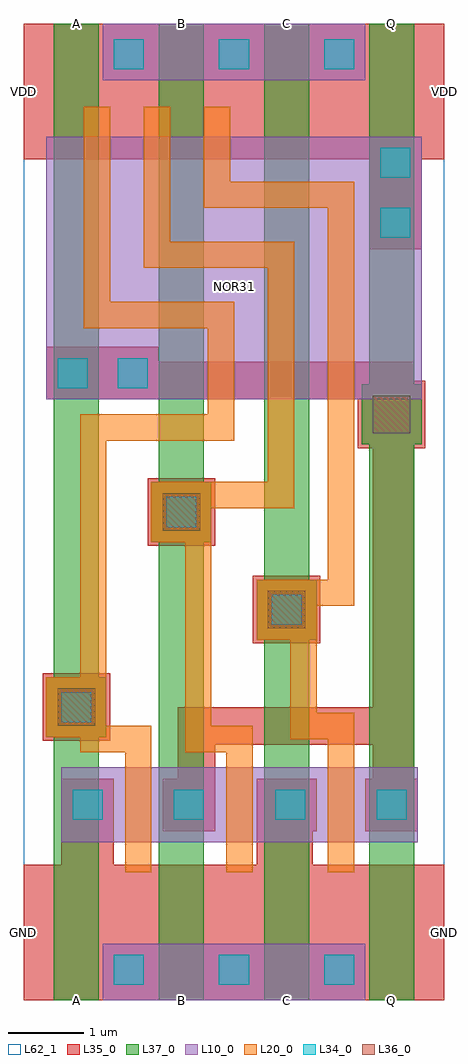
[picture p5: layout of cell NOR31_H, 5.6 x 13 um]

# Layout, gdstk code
import gdstk
lib = gdstk.Library(unit=1e-6, precision=1e-09)
def R(c, l, rs):  # rectangles x0, y0, x1, y1
    for r in rs: c.add(gdstk.rectangle(r[:2], r[2:], *l))
def A(c, l, x, y, w, h, nx, ny, dx, dy):  # array of equal rectangles
    R(c, l, [(x+i*dx, y+j*dy, x+i*dx+w, y+j*dy+h) for i in range(nx) for j in range(ny)])
def P(c, l, *ps):  # polygons
    for p in ps: c.add(gdstk.Polygon(p, *l))
L10_0 = (10, 0)
L20_0 = (20, 0)
L34_0 = (34, 0)
L35_0 = (35, 0)
L36_0 = (36, 0)
L37_0 = (37, 0)
L62_1 = (62, 1)

nor31_h = lib.new_cell('NOR31_H')
R(nor31_h, L10_0, [(1.05,0,4.55,0.75), (0.5,2.1,5.25,3.1), (0.3,8,5.3,11.5), (1.05,12.25,4.55,13)])
P(nor31_h, L20_0, [(3.6,10.1),(1.95,10.1),(1.95,11.9),(1.6,11.9),(1.6,9.75),(3.25,9.75),(3.25,6.9),(1.7,6.9),(1.7,6.1),(2.15,6.1),(2.15,3.3),(2.7,3.3),(2.7,1.7),(3.05,1.7),(3.05,3.65),(2.5,3.65),(2.5,6.55),(3.6,6.55)],
  [(4.4,3.825),(3.9,3.825),(3.9,5.25),(4.4,5.25),(4.4,10.9),(2.75,10.9),(2.75,11.9),(2.4,11.9),(2.4,10.55),(4.05,10.55),(4.05,5.6),(3.1,5.6),(3.1,4.8),(3.55,4.8),(3.55,3.475),(4.05,3.475),(4.05,1.7),(4.4,1.7)],
  [(2.8,9.3),(1.15,9.3),(1.15,11.9),(0.8,11.9),(0.8,8.95),(2.45,8.95),(2.45,7.8),(0.75,7.8),(0.75,4.3),(0.3,4.3),(0.3,3.5),(0.75,3.5),(0.75,3.3),(1.35,3.3),(1.35,1.7),(1.7,1.7),(1.7,3.65),(1.1,3.65),(1.1,7.45),(2.8,7.45)])
A(nor31_h, L34_0, 1.2, 0.2, 0.4, 0.4, 3, 2, 1.4, 12.2)
A(nor31_h, L34_0, 0.65, 2.4, 0.4, 0.4, 4, 1, 1.35, 0)
R(nor31_h, L34_0, [(0.5,3.7,0.9,4.1), (3.3,5,3.7,5.4), (1.9,6.3,2.3,6.7), (0.45,8.15,0.85,8.55), (1.25,8.15,1.65,8.55), (4.75,10.15,5.15,10.55), (4.75,10.95,5.15,11.35)])
R(nor31_h, L35_0, [(0.25,3.45,1.15,4.35), (0.25,3.45,1.15,4.35), (3.05,4.75,3.95,5.65), (3.05,4.75,3.95,5.65), (1.65,6.05,2.55,6.95), (1.65,6.05,2.55,6.95), (4.45,7.35,5.35,8.25)])
P(nor31_h, L35_0, [(5.6,1.8),(3.85,1.8),(3.85,2.25),(3.9,2.25),(3.9,2.95),(3.1,2.95),(3.1,1.8),(1.2,1.8),(1.2,2.95),(0.5,2.95),(0.5,1.8),(0,1.8),(0,0),(5.6,0)],
  [(5.35,8.25),(5.2,8.25),(5.2,8.5),(1.8,8.5),(1.8,8.7),(0.3,8.7),(0.3,8),(4.45,8),(4.45,7.35),(4.65,7.35),(4.65,3.9),(2.05,3.9),(2.05,2.95),(1.85,2.95),(1.85,2.25),(2.55,2.25),(2.55,3.4),(4.65,3.4),(4.65,2.95),(4.55,2.95),(4.55,2.25),(5.25,2.25),(5.25,2.95),(5.2,2.95),(5.2,7.35),(5.35,7.35)],
  [(5.6,13),(0,13),(0,11.2),(4.6,11.2),(4.6,10),(5.3,10),(5.3,11.2),(5.6,11.2)])
R(nor31_h, L36_0, [(0.45,3.65,0.95,4.15), (3.25,4.95,3.75,5.45), (1.85,6.25,2.35,6.75), (4.65,7.55,5.15,8.05)])
A(nor31_h, L37_0, 0.4, 0, 0.6, 13, 4, 1, 1.4, 0)
R(nor31_h, L37_0, [(0.3,3.5,1.1,4.3), (3.1,4.8,3.9,5.6), (1.7,6.1,2.5,6.9), (4.5,7.4,5.3,8.2)])
R(nor31_h, L62_1, [(0,0,5.6,13)])
nor31_h.add(gdstk.Label('NOR31', (2.8,9.5), layer=61, texttype=2))
nor31_h.add(gdstk.Label('A', (0.7,13), layer=37, texttype=0))
nor31_h.add(gdstk.Label('B', (2.1,13), layer=37, texttype=0))
nor31_h.add(gdstk.Label('C', (3.5,13), layer=37, texttype=0))
nor31_h.add(gdstk.Label('Q', (4.9,13), layer=37, texttype=0))
nor31_h.add(gdstk.Label('GND', (5.6,0.9), layer=35, texttype=0))
nor31_h.add(gdstk.Label('GND', (0,0.9), layer=35, texttype=0))
nor31_h.add(gdstk.Label('VDD', (5.6,12.1), layer=35, texttype=0))
nor31_h.add(gdstk.Label('VDD', (0,12.1), layer=35, texttype=0))
nor31_h.add(gdstk.Label('A', (0.7,0), layer=37, texttype=0))
nor31_h.add(gdstk.Label('B', (2.1,0), layer=37, texttype=0))
nor31_h.add(gdstk.Label('C', (3.5,0), layer=37, texttype=0))
nor31_h.add(gdstk.Label('Q', (4.9,0), layer=37, texttype=0))

lib.write_gds('NOR31_H.gds')
